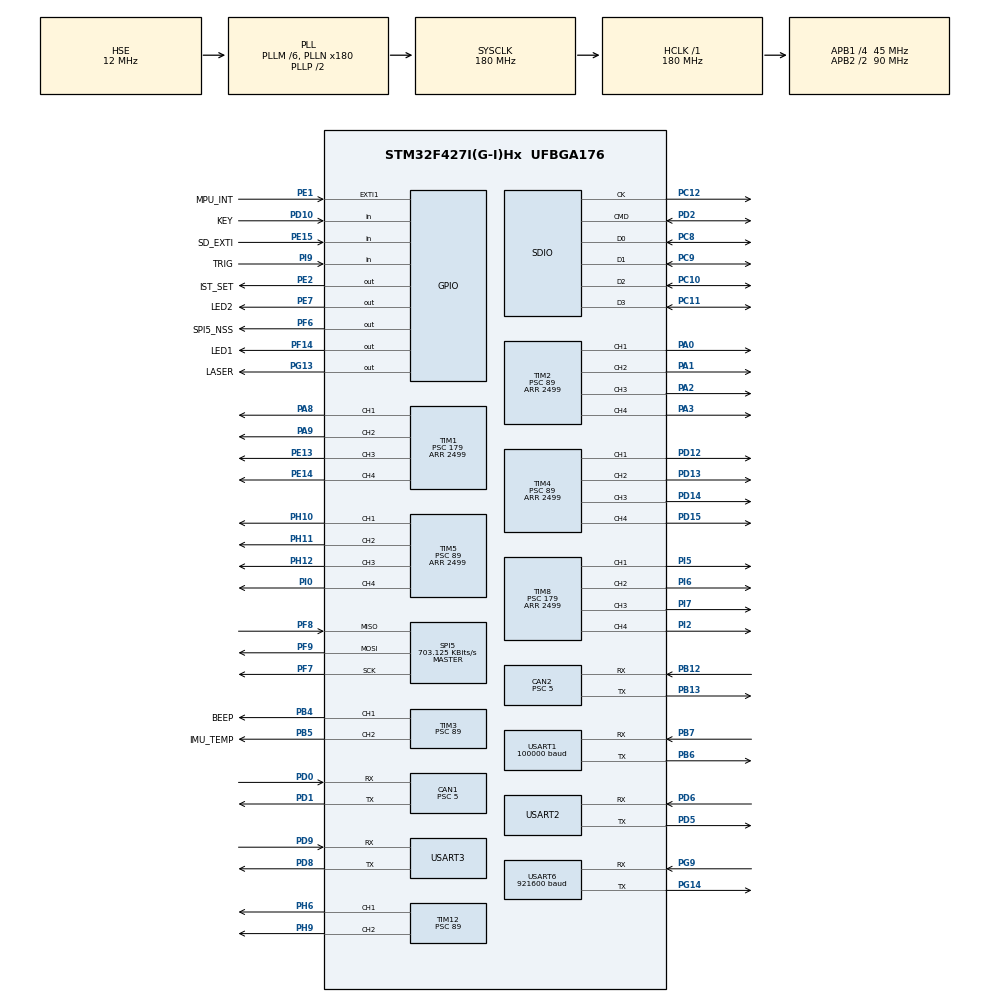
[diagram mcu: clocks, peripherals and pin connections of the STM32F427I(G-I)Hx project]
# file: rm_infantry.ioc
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CAN1.ABOM=ENABLE
CAN1.BS1=CAN_BS1_3TQ
CAN1.BS2=CAN_BS2_5TQ
CAN1.CalculateTimeBit=1000
CAN1.CalculateTimeQuantum=111.11111111111111
CAN1.Prescaler=5
CAN2.ABOM=ENABLE
CAN2.BS1=CAN_BS1_3TQ
CAN2.BS2=CAN_BS2_5TQ
CAN2.CalculateTimeBit=1000
CAN2.CalculateTimeQuantum=111.11111111111111
CAN2.Prescaler=5
CAN2.SJW=CAN_SJW_4TQ
Dma.Request0=SDIO_RX
Dma.Request1=SDIO_TX
Dma.Request2=USART1_RX
Dma.Request3=USART2_RX
Dma.Request4=USART3_RX
Dma.Request5=USART6_RX
Dma.Request6=USART2_TX
Dma.Request7=USART3_TX
Dma.Request8=USART6_TX
Dma.SDIO_RX.0.Direction=DMA_PERIPH_TO_MEMORY
Dma.SDIO_RX.0.FIFOMode=DMA_FIFOMODE_ENABLE
Dma.SDIO_RX.0.FIFOThreshold=DMA_FIFO_THRESHOLD_FULL
Dma.SDIO_RX.0.Instance=DMA2_Stream3
Dma.SDIO_RX.0.MemBurst=DMA_MBURST_INC4
Dma.SDIO_RX.0.MemDataAlignment=DMA_MDATAALIGN_WORD
Dma.SDIO_RX.0.MemInc=DMA_MINC_ENABLE
Dma.SDIO_RX.0.Mode=DMA_PFCTRL
Dma.SDIO_RX.0.PeriphBurst=DMA_PBURST_INC4
Dma.SDIO_RX.0.PeriphDataAlignment=DMA_PDATAALIGN_WORD
Dma.SDIO_RX.0.PeriphInc=DMA_PINC_DISABLE
Dma.SDIO_RX.0.Priority=DMA_PRIORITY_HIGH
Dma.SDIO_TX.1.Direction=DMA_MEMORY_TO_PERIPH
Dma.SDIO_TX.1.FIFOMode=DMA_FIFOMODE_ENABLE
Dma.SDIO_TX.1.FIFOThreshold=DMA_FIFO_THRESHOLD_FULL
Dma.SDIO_TX.1.Instance=DMA2_Stream6
Dma.SDIO_TX.1.MemBurst=DMA_MBURST_INC4
Dma.SDIO_TX.1.MemDataAlignment=DMA_MDATAALIGN_WORD
Dma.SDIO_TX.1.MemInc=DMA_MINC_ENABLE
Dma.SDIO_TX.1.Mode=DMA_PFCTRL
Dma.SDIO_TX.1.PeriphBurst=DMA_PBURST_INC4
Dma.SDIO_TX.1.PeriphDataAlignment=DMA_PDATAALIGN_WORD
Dma.SDIO_TX.1.PeriphInc=DMA_PINC_DISABLE
Dma.SDIO_TX.1.Priority=DMA_PRIORITY_HIGH
Dma.USART1_RX.2.Direction=DMA_PERIPH_TO_MEMORY
Dma.USART1_RX.2.FIFOMode=DMA_FIFOMODE_DISABLE
Dma.USART1_RX.2.Instance=DMA2_Stream2
Dma.USART1_RX.2.MemDataAlignment=DMA_MDATAALIGN_BYTE
Dma.USART1_RX.2.MemInc=DMA_MINC_ENABLE
Dma.USART1_RX.2.Mode=DMA_CIRCULAR
Dma.USART1_RX.2.PeriphDataAlignment=DMA_PDATAALIGN_BYTE
Dma.USART1_RX.2.PeriphInc=DMA_PINC_DISABLE
Dma.USART1_RX.2.Priority=DMA_PRIORITY_LOW
Dma.USART2_RX.3.Direction=DMA_PERIPH_TO_MEMORY
Dma.USART2_RX.3.FIFOMode=DMA_FIFOMODE_DISABLE
Dma.USART2_RX.3.Instance=DMA1_Stream5
Dma.USART2_RX.3.MemDataAlignment=DMA_MDATAALIGN_BYTE
Dma.USART2_RX.3.MemInc=DMA_MINC_ENABLE
Dma.USART2_RX.3.Mode=DMA_NORMAL
Dma.USART2_RX.3.PeriphDataAlignment=DMA_PDATAALIGN_BYTE
Dma.USART2_RX.3.PeriphInc=DMA_PINC_DISABLE
Dma.USART2_RX.3.Priority=DMA_PRIORITY_LOW
Dma.USART2_TX.6.Direction=DMA_MEMORY_TO_PERIPH
Dma.USART2_TX.6.FIFOMode=DMA_FIFOMODE_DISABLE
Dma.USART2_TX.6.Instance=DMA1_Stream6
Dma.USART2_TX.6.MemDataAlignment=DMA_MDATAALIGN_BYTE
Dma.USART2_TX.6.MemInc=DMA_MINC_ENABLE
Dma.USART2_TX.6.Mode=DMA_NORMAL
Dma.USART2_TX.6.PeriphDataAlignment=DMA_PDATAALIGN_BYTE
Dma.USART2_TX.6.PeriphInc=DMA_PINC_DISABLE
Dma.USART2_TX.6.Priority=DMA_PRIORITY_LOW
Dma.USART3_RX.4.Direction=DMA_PERIPH_TO_MEMORY
Dma.USART3_RX.4.FIFOMode=DMA_FIFOMODE_DISABLE
Dma.USART3_RX.4.Instance=DMA1_Stream1
Dma.USART3_RX.4.MemDataAlignment=DMA_MDATAALIGN_BYTE
Dma.USART3_RX.4.MemInc=DMA_MINC_ENABLE
Dma.USART3_RX.4.Mode=DMA_NORMAL
Dma.USART3_RX.4.PeriphDataAlignment=DMA_PDATAALIGN_BYTE
Dma.USART3_RX.4.PeriphInc=DMA_PINC_DISABLE
Dma.USART3_RX.4.Priority=DMA_PRIORITY_LOW
Dma.USART3_TX.7.Direction=DMA_MEMORY_TO_PERIPH
Dma.USART3_TX.7.FIFOMode=DMA_FIFOMODE_DISABLE
Dma.USART3_TX.7.Instance=DMA1_Stream3
Dma.USART3_TX.7.MemDataAlignment=DMA_MDATAALIGN_BYTE
Dma.USART3_TX.7.MemInc=DMA_MINC_ENABLE
Dma.USART3_TX.7.Mode=DMA_NORMAL
Dma.USART3_TX.7.PeriphDataAlignment=DMA_PDATAALIGN_BYTE
Dma.USART3_TX.7.PeriphInc=DMA_PINC_DISABLE
Dma.USART3_TX.7.Priority=DMA_PRIORITY_LOW
Dma.USART6_RX.5.Direction=DMA_PERIPH_TO_MEMORY
Dma.USART6_RX.5.FIFOMode=DMA_FIFOMODE_DISABLE
Dma.USART6_RX.5.Instance=DMA2_Stream1
Dma.USART6_RX.5.MemDataAlignment=DMA_MDATAALIGN_BYTE
Dma.USART6_RX.5.MemInc=DMA_MINC_ENABLE
Dma.USART6_RX.5.Mode=DMA_NORMAL
Dma.USART6_RX.5.PeriphDataAlignment=DMA_PDATAALIGN_BYTE
Dma.USART6_RX.5.PeriphInc=DMA_PINC_DISABLE
Dma.USART6_RX.5.Priority=DMA_PRIORITY_LOW
Dma.USART6_TX.8.Direction=DMA_MEMORY_TO_PERIPH
Dma.USART6_TX.8.FIFOMode=DMA_FIFOMODE_DISABLE
Dma.USART6_TX.8.Instance=DMA2_Stream7
Dma.USART6_TX.8.MemDataAlignment=DMA_MDATAALIGN_BYTE
Dma.USART6_TX.8.MemInc=DMA_MINC_ENABLE
Dma.USART6_TX.8.Mode=DMA_NORMAL
Dma.USART6_TX.8.PeriphDataAlignment=DMA_PDATAALIGN_BYTE
Dma.USART6_TX.8.PeriphInc=DMA_PINC_DISABLE
Dma.USART6_TX.8.Priority=DMA_PRIORITY_LOW
FATFS._CODE_PAGE=936
FATFS._USE_LFN=2
FREERTOS.INCLUDE_uxTaskGetStackHighWaterMark=1
FREERTOS.INCLUDE_vTaskDelayUntil=1
FREERTOS.Tasks01=defaultTask,0,128,StartDefaultTask,Default,NULL
FREERTOS.configCHECK_FOR_STACK_OVERFLOW=1
FREERTOS.configTIMER_TASK_STACK_DEPTH=128
FREERTOS.configUSE_TIMERS=1
FREERTOS.configUSE_TRACE_FACILITY=1
Mcu.Family=STM32F4
Mcu.Name=STM32F427I(G-I)Hx
Mcu.Package=UFBGA176
NVIC.CAN1_RX0_IRQn=true\:5\:0\:false\:false\:true\:true\:true
NVIC.CAN1_TX_IRQn=true\:5\:0\:false\:false\:true\:true\:true
NVIC.CAN2_RX0_IRQn=true\:6\:0\:true\:false\:true\:true\:true
NVIC.CAN2_TX_IRQn=true\:6\:0\:true\:false\:true\:true\:true
NVIC.DMA1_Stream1_IRQn=true\:5\:0\:false\:false\:true\:true\:false
NVIC.DMA1_Stream3_IRQn=true\:5\:0\:false\:false\:true\:true\:false
NVIC.DMA1_Stream5_IRQn=true\:5\:0\:false\:false\:true\:true\:false
NVIC.DMA1_Stream6_IRQn=true\:5\:0\:false\:false\:true\:true\:false
NVIC.DMA2_Stream1_IRQn=true\:5\:0\:false\:false\:true\:true\:false
NVIC.DMA2_Stream2_IRQn=true\:5\:0\:false\:false\:true\:true\:false
NVIC.DMA2_Stream3_IRQn=true\:6\:0\:true\:false\:true\:true\:false
NVIC.DMA2_Stream6_IRQn=true\:6\:0\:true\:false\:true\:true\:false
NVIC.DMA2_Stream7_IRQn=true\:5\:0\:false\:false\:true\:true\:false
NVIC.PriorityGroup=NVIC_PRIORITYGROUP_4
NVIC.SDIO_IRQn=true\:5\:0\:false\:false\:true\:true\:true
NVIC.TIM6_DAC_IRQn=true\:0\:0\:false\:false\:true\:false\:false
NVIC.TimeBase=TIM6_DAC_IRQn
NVIC.TimeBaseIP=TIM6
NVIC.USART1_IRQn=true\:5\:0\:false\:false\:true\:true\:true
NVIC.USART2_IRQn=true\:5\:0\:true\:false\:true\:true\:true
NVIC.USART3_IRQn=true\:5\:0\:false\:false\:true\:true\:true
NVIC.USART6_IRQn=true\:5\:0\:false\:false\:true\:true\:true
PA0/WKUP.Signal=S_TIM2_CH1_ETR
PA1.Signal=S_TIM2_CH2
PA13.Mode=Serial_Wire
PA13.Signal=SYS_JTMS-SWDIO
PA14.Mode=Serial_Wire
PA14.Signal=SYS_JTCK-SWCLK
PA2.Signal=S_TIM2_CH3
PA3.Signal=S_TIM2_CH4
PA8.Signal=S_TIM1_CH1
PA9.Signal=S_TIM1_CH2
PB12.Mode=Slave
PB12.Signal=CAN2_RX
PB13.Mode=Slave
PB13.Signal=CAN2_TX
PB4.GPIO_Label=BEEP
PB4.Signal=S_TIM3_CH1
PB5.GPIO_Label=IMU_TEMP
PB5.Signal=S_TIM3_CH2
PB6.Mode=Asynchronous
PB6.Signal=USART1_TX
PB7.Mode=Asynchronous
PB7.Signal=USART1_RX
PC10.Mode=SD_4_bits_Wide_bus
PC10.Signal=SDIO_D2
PC11.Mode=SD_4_bits_Wide_bus
PC11.Signal=SDIO_D3
PC12.Mode=SD_4_bits_Wide_bus
PC12.Signal=SDIO_CK
PC8.Mode=SD_4_bits_Wide_bus
PC8.Signal=SDIO_D0
PC9.Mode=SD_4_bits_Wide_bus
PC9.Signal=SDIO_D1
PD0.Mode=Master
PD0.Signal=CAN1_RX
PD1.Mode=Master
PD1.Signal=CAN1_TX
PD10.GPIO_Label=KEY
PD10.Signal=GPIO_Input
PD12.Signal=S_TIM4_CH1
PD13.Signal=S_TIM4_CH2
PD14.Signal=S_TIM4_CH3
PD15.Signal=S_TIM4_CH4
PD2.Mode=SD_4_bits_Wide_bus
PD2.Signal=SDIO_CMD
PD5.Mode=Asynchronous
PD5.Signal=USART2_TX
PD6.Mode=Asynchronous
PD6.Signal=USART2_RX
PD8.Mode=Asynchronous
PD8.Signal=USART3_TX
PD9.Mode=Asynchronous
PD9.Signal=USART3_RX
PE1.GPIO_Label=MPU_INT
PE1.Signal=GPXTI1
PE13.Signal=S_TIM1_CH3
PE14.Signal=S_TIM1_CH4
PE15.GPIO_Label=SD_EXTI
PE15.Signal=GPIO_Input
PE2.GPIO_Label=IST_SET
PE2.Signal=GPIO_Output
PE7.GPIO_Label=LED2
PE7.Signal=GPIO_Output
PF14.GPIO_Label=LED1
PF14.Signal=GPIO_Output
PF6.GPIO_Label=SPI5_NSS
PF6.Signal=GPIO_Output
PF7.Mode=Full_Duplex_Master
PF7.Signal=SPI5_SCK
PF8.Mode=Full_Duplex_Master
PF8.Signal=SPI5_MISO
PF9.Mode=Full_Duplex_Master
PF9.Signal=SPI5_MOSI
PG13.GPIO_Label=LASER
PG13.Signal=GPIO_Output
PG14.Mode=Asynchronous
PG14.Signal=USART6_TX
PG9.Mode=Asynchronous
PG9.Signal=USART6_RX
PH0/OSC_IN.Mode=HSE-External-Oscillator
PH0/OSC_IN.Signal=RCC_OSC_IN
PH1/OSC_OUT.Mode=HSE-External-Oscillator
PH1/OSC_OUT.Signal=RCC_OSC_OUT
PH10.Signal=S_TIM5_CH1
PH11.Signal=S_TIM5_CH2
PH12.Signal=S_TIM5_CH3
PH6.Signal=S_TIM12_CH1
PH9.Signal=S_TIM12_CH2
PI0.Signal=S_TIM5_CH4
PI2.Signal=S_TIM8_CH4
PI5.Signal=S_TIM8_CH1
PI6.Signal=S_TIM8_CH2
PI7.Signal=S_TIM8_CH3
PI9.GPIO_Label=TRIG
PI9.GPIO_PuPd=GPIO_PULLUP
PI9.Signal=GPIO_Input
ProjectManager.HeapSize=0x500
ProjectManager.StackSize=0x1000
ProjectManager.TargetToolchain=MDK-ARM V5
RCC.48MHZClocksFreq_Value=45000000
RCC.AHBFreq_Value=180000000
RCC.APB1CLKDivider=RCC_HCLK_DIV4
RCC.APB1Freq_Value=45000000
RCC.APB1TimFreq_Value=90000000
RCC.APB2CLKDivider=RCC_HCLK_DIV2
RCC.APB2Freq_Value=90000000
RCC.APB2TimFreq_Value=180000000
RCC.CortexFreq_Value=180000000
RCC.HCLKFreq_Value=180000000
RCC.HSE_VALUE=12000000
RCC.HSI_VALUE=16000000
RCC.LSE_VALUE=32768
RCC.PLLM=6
RCC.PLLN=180
RCC.PLLQ=8
RCC.PLLSourceVirtual=RCC_PLLSOURCE_HSE
RCC.SYSCLKFreq_VALUE=180000000
RCC.SYSCLKSource=RCC_SYSCLKSOURCE_PLLCLK
RCC.VCOOutputFreq_Value=360000000
RTC.AsynchPrediv=124
RTC.Date=18
RTC.Format=RTC_FORMAT_BIN
RTC.Hours=10
RTC.Minutes=30
RTC.Month=RTC_MONTH_OCTOBER
RTC.WeekDay=RTC_WEEKDAY_WEDNESDAY
RTC.Year=17
SH.S_TIM12_CH1.0=TIM12_CH1,PWM Generation1 CH1
SH.S_TIM12_CH2.0=TIM12_CH2,PWM Generation2 CH2
SH.S_TIM1_CH1.0=TIM1_CH1,PWM Generation1 CH1
SH.S_TIM1_CH2.0=TIM1_CH2,PWM Generation2 CH2
SH.S_TIM1_CH3.0=TIM1_CH3,PWM Generation3 CH3
SH.S_TIM1_CH4.0=TIM1_CH4,PWM Generation4 CH4
SH.S_TIM2_CH1_ETR.0=TIM2_CH1,PWM Generation1 CH1
SH.S_TIM2_CH2.0=TIM2_CH2,PWM Generation2 CH2
SH.S_TIM2_CH3.0=TIM2_CH3,PWM Generation3 CH3
SH.S_TIM2_CH4.0=TIM2_CH4,PWM Generation4 CH4
SH.S_TIM3_CH1.0=TIM3_CH1,PWM Generation1 CH1
SH.S_TIM3_CH2.0=TIM3_CH2,PWM Generation2 CH2
SH.S_TIM4_CH1.0=TIM4_CH1,PWM Generation1 CH1
SH.S_TIM4_CH2.0=TIM4_CH2,PWM Generation2 CH2
SH.S_TIM4_CH3.0=TIM4_CH3,PWM Generation3 CH3
SH.S_TIM4_CH4.0=TIM4_CH4,PWM Generation4 CH4
SH.S_TIM5_CH1.0=TIM5_CH1,PWM Generation1 CH1
SH.S_TIM5_CH2.0=TIM5_CH2,PWM Generation2 CH2
SH.S_TIM5_CH3.0=TIM5_CH3,PWM Generation3 CH3
SH.S_TIM5_CH4.0=TIM5_CH4,PWM Generation4 CH4
SH.S_TIM8_CH1.0=TIM8_CH1,PWM Generation1 CH1
SH.S_TIM8_CH2.0=TIM8_CH2,PWM Generation2 CH2
SH.S_TIM8_CH3.0=TIM8_CH3,PWM Generation3 CH3
SH.S_TIM8_CH4.0=TIM8_CH4,PWM Generation4 CH4
SPI5.BaudRatePrescaler=SPI_BAUDRATEPRESCALER_128
SPI5.CalculateBaudRate=703.125 KBits/s
SPI5.Direction=SPI_DIRECTION_2LINES
SPI5.Mode=SPI_MODE_MASTER
SPI5.VirtualType=VM_MASTER
TIM1.Channel-PWM\ Generation1\ CH1=TIM_CHANNEL_1
TIM1.Channel-PWM\ Generation2\ CH2=TIM_CHANNEL_2
TIM1.Channel-PWM\ Generation3\ CH3=TIM_CHANNEL_3
TIM1.Channel-PWM\ Generation4\ CH4=TIM_CHANNEL_4
TIM1.Period=2499
TIM1.Prescaler=179
TIM1.Pulse-PWM\ Generation1\ CH1=1000
TIM1.Pulse-PWM\ Generation2\ CH2=1000
TIM1.Pulse-PWM\ Generation3\ CH3=1000
TIM1.Pulse-PWM\ Generation4\ CH4=1000
TIM12.Channel-PWM\ Generation1\ CH1=TIM_CHANNEL_1
TIM12.Channel-PWM\ Generation2\ CH2=TIM_CHANNEL_2
TIM12.Period=2499
TIM12.Prescaler=89
TIM12.Pulse-PWM\ Generation1\ CH1=1000
TIM12.Pulse-PWM\ Generation2\ CH2=1000
TIM2.Channel-PWM\ Generation1\ CH1=TIM_CHANNEL_1
TIM2.Channel-PWM\ Generation2\ CH2=TIM_CHANNEL_2
TIM2.Channel-PWM\ Generation3\ CH3=TIM_CHANNEL_3
TIM2.Channel-PWM\ Generation4\ CH4=TIM_CHANNEL_4
TIM2.Period=2499
TIM2.Prescaler=89
TIM2.Pulse-PWM\ Generation1\ CH1=1000
TIM2.Pulse-PWM\ Generation2\ CH2=1000
TIM2.Pulse-PWM\ Generation3\ CH3=1000
TIM2.Pulse-PWM\ Generation4\ CH4=1000
TIM3.Channel-PWM\ Generation1\ CH1=TIM_CHANNEL_1
TIM3.Channel-PWM\ Generation2\ CH2=TIM_CHANNEL_2
TIM3.Prescaler=89
TIM4.Channel-PWM\ Generation1\ CH1=TIM_CHANNEL_1
TIM4.Channel-PWM\ Generation2\ CH2=TIM_CHANNEL_2
TIM4.Channel-PWM\ Generation3\ CH3=TIM_CHANNEL_3
TIM4.Channel-PWM\ Generation4\ CH4=TIM_CHANNEL_4
TIM4.Period=2499
TIM4.Prescaler=89
TIM4.Pulse-PWM\ Generation1\ CH1=1000
TIM4.Pulse-PWM\ Generation2\ CH2=1000
TIM4.Pulse-PWM\ Generation3\ CH3=1000
TIM4.Pulse-PWM\ Generation4\ CH4=1000
TIM5.Channel-PWM\ Generation1\ CH1=TIM_CHANNEL_1
TIM5.Channel-PWM\ Generation2\ CH2=TIM_CHANNEL_2
TIM5.Channel-PWM\ Generation3\ CH3=TIM_CHANNEL_3
TIM5.Channel-PWM\ Generation4\ CH4=TIM_CHANNEL_4
TIM5.Period=2499
TIM5.Prescaler=89
TIM5.Pulse-PWM\ Generation1\ CH1=1000
TIM5.Pulse-PWM\ Generation2\ CH2=1000
TIM5.Pulse-PWM\ Generation3\ CH3=1000
TIM5.Pulse-PWM\ Generation4\ CH4=1000
TIM8.Channel-PWM\ Generation1\ CH1=TIM_CHANNEL_1
TIM8.Channel-PWM\ Generation2\ CH2=TIM_CHANNEL_2
TIM8.Channel-PWM\ Generation3\ CH3=TIM_CHANNEL_3
TIM8.Channel-PWM\ Generation4\ CH4=TIM_CHANNEL_4
TIM8.Period=2499
TIM8.Prescaler=179
TIM8.Pulse-PWM\ Generation1\ CH1=1000
TIM8.Pulse-PWM\ Generation2\ CH2=1000
TIM8.Pulse-PWM\ Generation3\ CH3=1000
TIM8.Pulse-PWM\ Generation4\ CH4=1000
USART1.BaudRate=100000
USART1.Parity=PARITY_EVEN
USART1.VirtualMode=VM_ASYNC
USART2.VirtualMode=VM_ASYNC
USART3.VirtualMode=VM_ASYNC
USART6.BaudRate=921600
USART6.VirtualMode=VM_ASYNC
VP_FATFS_VS_SDIO.Mode=SDIO
VP_FREERTOS_VS_ENABLE.Mode=Enabled
VP_RTC_VS_RTC_Activate.Mode=RTC_Enabled
VP_RTC_VS_RTC_Calendar.Mode=RTC_Calendar
VP_RTC_VS_RTC_WakeUp_intern.Mode=WakeUp
VP_SYS_VS_tim6.Mode=TIM6
board=rm_infantry

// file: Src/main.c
/**
  ******************************************************************************
  * File Name          : main.c
  * Description        : Main program body
  ******************************************************************************
  * This notice applies to any and all portions of this file
  * that are not between comment pairs USER CODE BEGIN and
  * USER CODE END. Other portions of this file, whether
  * inserted by the user or by software development tools
  * are owned by their respective copyright owners.
  *
  * Copyright (c) 2018 STMicroelectronics International N.V.
  * All rights reserved.
  *
  * Redistribution and use in source and binary forms, with or without
  * modification, are permitted, provided that the following conditions are met:
  *
  * 1. Redistribution of source code must retain the above copyright notice,
  *    this list of conditions and the following disclaimer.
  * 2. Redistributions in binary form must reproduce the above copyright notice,
  *    this list of conditions and the following disclaimer in the documentation
  *    and/or other materials provided with the distribution.
  * 3. Neither the name of STMicroelectronics nor the names of other
  *    contributors to this software may be used to endorse or promote products
  *    derived from this software without specific written permission.
  * 4. This software, including modifications and/or derivative works of this
  *    software, must execute solely and exclusively on microcontroller or
  *    microprocessor devices manufactured by or for STMicroelectronics.
  * 5. Redistribution and use of this software other than as permitted under
  *    this license is void and will automatically terminate your rights under
  *    this license.
  *
  * THIS SOFTWARE IS PROVIDED BY STMICROELECTRONICS AND CONTRIBUTORS "AS IS"
  * AND ANY EXPRESS, IMPLIED OR STATUTORY WARRANTIES, INCLUDING, BUT NOT
  * LIMITED TO, THE IMPLIED WARRANTIES OF MERCHANTABILITY, FITNESS FOR A
  * PARTICULAR PURPOSE AND NON-INFRINGEMENT OF THIRD PARTY INTELLECTUAL PROPERTY
  * RIGHTS ARE DISCLAIMED TO THE FULLEST EXTENT PERMITTED BY LAW. IN NO EVENT
  * SHALL STMICROELECTRONICS OR CONTRIBUTORS BE LIABLE FOR ANY DIRECT, INDIRECT,
  * INCIDENTAL, SPECIAL, EXEMPLARY, OR CONSEQUENTIAL DAMAGES (INCLUDING, BUT NOT
  * LIMITED TO, PROCUREMENT OF SUBSTITUTE GOODS OR SERVICES; LOSS OF USE, DATA,
  * OR PROFITS; OR BUSINESS INTERRUPTION) HOWEVER CAUSED AND ON ANY THEORY OF
  * LIABILITY, WHETHER IN CONTRACT, STRICT LIABILITY, OR TORT (INCLUDING
  * NEGLIGENCE OR OTHERWISE) ARISING IN ANY WAY OUT OF THE USE OF THIS SOFTWARE,
  * EVEN IF ADVISED OF THE POSSIBILITY OF SUCH DAMAGE.
  *
  ******************************************************************************
  */
#include "main.h"
#include "stm32f4xx_hal.h"
#include "cmsis_os.h"
#include "can.h"
#include "dma.h"
#include "fatfs.h"
#include "rtc.h"
#include "sdio.h"
#include "spi.h"
#include "tim.h"
#include "usart.h"
#include "gpio.h"

/* USER CODE BEGIN Includes */
#include "bsp_can.h"
#include "bsp_uart.h"
#include "calibrate.h"
#include "comm_task.h"
#include "gimbal_task.h"
#include "shoot_task.h"
#include "chassis_task.h"
#include "detect_task.h"
#include "imu_task.h"
#include "bsp_imu.h"
#include "bsp_io.h"

//NOTE: Added
#include "led.h"
#include "remote_ctrl.h"
#include "info_interactive.h"
#include "comm_task.h"
#include "sys_config.h"
#include "chassis_task.h"
#include "modeswitch_task.h"
#include "imu_task.h"
#include "bsp_imu.h"

#include <stdio.h>
/* USER CODE END Includes */

/* USER CODE BEGIN PV */
/* Private variables ---------------------------------------------------------*/

/* USER CODE END PV */

void SystemClock_Config(void);
void MX_FREERTOS_Init(void);

/* USER CODE BEGIN PFP */
/* Private function prototypes -----------------------------------------------*/

/* USER CODE END PFP */

int main(void)
{

  /* MCU Configuration----------------------------------------------------------*/

  /* Reset of all peripherals, Initializes the Flash interface and the Systick. */

	HAL_Init();

  /* Configure the system clock */
  SystemClock_Config();

  /* Initialize all configured peripherals */
  MX_GPIO_Init();
  MX_DMA_Init();
  MX_SDIO_SD_Init();
  MX_CAN1_Init();
  MX_RTC_Init();
  MX_SPI5_Init();
  MX_TIM2_Init();
  MX_TIM3_Init();
  MX_CAN2_Init();
  MX_TIM4_Init();
  MX_TIM5_Init();
  MX_TIM8_Init();
  MX_TIM12_Init();
  MX_USART1_UART_Init();
  MX_USART2_UART_Init();
  MX_USART3_UART_Init();
  MX_USART6_UART_Init();
  MX_TIM1_Init();

  /* USER CODE BEGIN 2 */
  //software parameter initialize
  gimbal_param_init();
  shot_param_init();
  chassis_param_init();
  detector_param_init();
  communicate_param_init();
  imu_param_init();
  cali_param_init();
  //hardware device initialize
  pwm_device_init();
  mpu_device_init();
  can_device_init();
  gyro_device_init();

  //open can receive it
  can_receive_start();
  //open dbus uart receive it
  dbus_uart_init();

  /* USER CODE END 2 */
  /* Call init function for freertos objects (in freertos.c) */
  //MX_FREERTOS_Init();

  /* Start scheduler */
  //osKernelStart();

  /* We should never get here as control is now taken by the scheduler */

  /* Infinite loop */
  while (1)
  {

  /* USER CODE BEGIN 3 */
		//HAL_CAN_Receive_IT(&hcan1, CAN_FIFO0);
		//HAL_CAN_Receive_IT(&hcan2, CAN_FIFO0);
		uart_receive_handler(&huart1);
    get_main_ctrl_mode();
    get_chassis_mode();
		get_gimbal_mode();

		imu_temp_keep();

		mpu_get_data();
		imu_AHRS_update();
		imu_attitude_update();

    get_chassis_info();
    chassis_task(NULL);

		get_gimbal_info();
		gimbal_task(NULL);

    send_chassis_motor_ctrl_message(glb_cur.chassis_cur);
		send_gimbal_motor_ctrl_message(glb_cur.gimbal_cur);

    HAL_Delay(10);
  }
  /* USER CODE END 3 */

}

/** System Clock Configuration
*/
void SystemClock_Config(void)
{

  RCC_OscInitTypeDef RCC_OscInitStruct;
  RCC_ClkInitTypeDef RCC_ClkInitStruct;
  RCC_PeriphCLKInitTypeDef PeriphClkInitStruct;

    /**Configure the main internal regulator output voltage
    */
  __HAL_RCC_PWR_CLK_ENABLE();

  __HAL_PWR_VOLTAGESCALING_CONFIG(PWR_REGULATOR_VOLTAGE_SCALE1);

    /**Initializes the CPU, AHB and APB busses clocks
    */
  RCC_OscInitStruct.OscillatorType = RCC_OSCILLATORTYPE_LSI|RCC_OSCILLATORTYPE_HSE;
  RCC_OscInitStruct.HSEState = RCC_HSE_ON;
  RCC_OscInitStruct.LSIState = RCC_LSI_ON;
  RCC_OscInitStruct.PLL.PLLState = RCC_PLL_ON;
  RCC_OscInitStruct.PLL.PLLSource = RCC_PLLSOURCE_HSE;
  RCC_OscInitStruct.PLL.PLLM = 6;
  RCC_OscInitStruct.PLL.PLLN = 180;
  RCC_OscInitStruct.PLL.PLLP = RCC_PLLP_DIV2;
  RCC_OscInitStruct.PLL.PLLQ = 8;
  if (HAL_RCC_OscConfig(&RCC_OscInitStruct) != HAL_OK)
  {
    _Error_Handler(__FILE__, __LINE__);
  }

    /**Activate the Over-Drive mode
    */
  if (HAL_PWREx_EnableOverDrive() != HAL_OK)
  {
    _Error_Handler(__FILE__, __LINE__);
  }

    /**Initializes the CPU, AHB and APB busses clocks
    */
  RCC_ClkInitStruct.ClockType = RCC_CLOCKTYPE_HCLK|RCC_CLOCKTYPE_SYSCLK
                              |RCC_CLOCKTYPE_PCLK1|RCC_CLOCKTYPE_PCLK2;
  RCC_ClkInitStruct.SYSCLKSource = RCC_SYSCLKSOURCE_PLLCLK;
  RCC_ClkInitStruct.AHBCLKDivider = RCC_SYSCLK_DIV1;
  RCC_ClkInitStruct.APB1CLKDivider = RCC_HCLK_DIV4;
  RCC_ClkInitStruct.APB2CLKDivider = RCC_HCLK_DIV2;

  if (HAL_RCC_ClockConfig(&RCC_ClkInitStruct, FLASH_LATENCY_5) != HAL_OK)
  {
    _Error_Handler(__FILE__, __LINE__);
  }

  PeriphClkInitStruct.PeriphClockSelection = RCC_PERIPHCLK_RTC;
  PeriphClkInitStruct.RTCClockSelection = RCC_RTCCLKSOURCE_LSI;
  if (HAL_RCCEx_PeriphCLKConfig(&PeriphClkInitStruct) != HAL_OK)
  {
    _Error_Handler(__FILE__, __LINE__);
  }

    /**Configure the Systick interrupt time
    */
  HAL_SYSTICK_Config(HAL_RCC_GetHCLKFreq()/1000);

    /**Configure the Systick
    */
  HAL_SYSTICK_CLKSourceConfig(SYSTICK_CLKSOURCE_HCLK);

  /* SysTick_IRQn interrupt configuration */
  HAL_NVIC_SetPriority(SysTick_IRQn, 15, 0);
}

void HAL_TIM_PeriodElapsedCallback(TIM_HandleTypeDef *htim)
{
  if (htim->Instance == TIM6) {
    HAL_IncTick();
  }
}

void _Error_Handler(char * file, int line)
{
  while(1)
  {
  }
}

/************************ (C) COPYRIGHT STMicroelectronics *****END OF FILE****/
